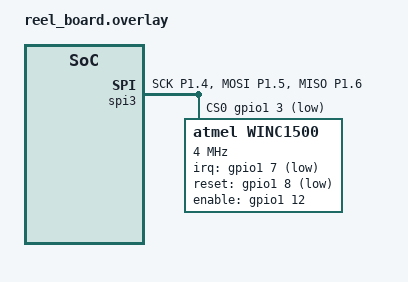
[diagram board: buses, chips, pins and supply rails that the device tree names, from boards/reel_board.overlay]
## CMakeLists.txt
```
# SPDX-License-Identifier: Apache-2.0

cmake_minimum_required(VERSION 3.20.0)

find_package(Zephyr REQUIRED HINTS $ENV{ZEPHYR_BASE})
project(wifi)

FILE(GLOB app_sources src/*.c)
target_sources(app PRIVATE ${app_sources})
```

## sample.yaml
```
common:
  harness: net
  tags:
    - net
    - wifi
sample:
  description: Test wifi driver and APIs functionality
  name: WiFi sample app
tests:
  sample.net.wifi:
    platform_allow:
      - cc3220sf_launchxl
      - disco_l475_iot1
      - reel_board
    integration_platforms:
      - cc3220sf_launchxl
  sample.net.wifi.mikroe_wifi_bt_click:
    extra_args: SHIELD=mikroe_wifi_bt_click_mikrobus
    platform_allow: lpcxpresso55s69/lpc55s69/cpu0
  sample.net.wifi.esp_8266:
    extra_args: SHIELD=esp_8266
    platform_allow: sam4e_xpro
  sample.net.wifi.esp_8266_arduino:
    extra_args: SHIELD=esp_8266_arduino
    platform_allow:
      - frdm_k64f
      - disco_l475_iot1
    integration_platforms:
      - frdm_k64f
  sample.net.wifi.inventek_eswifi_arduino_uart:
    extra_args: SHIELD=inventek_eswifi_arduino_uart
    platform_allow:
      - frdm_k64f
      - nucleo_f767zi
    integration_platforms:
      - frdm_k64f
  sample.net.wifi.inventek_eswifi_arduino_spi:
    extra_args: SHIELD=inventek_eswifi_arduino_spi
    platform_allow:
      - frdm_k64f
      - nucleo_f767zi
    integration_platforms:
      - frdm_k64f
```

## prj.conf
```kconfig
CONFIG_EARLY_CONSOLE=y

CONFIG_NETWORKING=y
CONFIG_TEST_RANDOM_GENERATOR=y

CONFIG_NET_TX_STACK_SIZE=2048
CONFIG_NET_RX_STACK_SIZE=2048

CONFIG_NET_PKT_RX_COUNT=10
CONFIG_NET_PKT_TX_COUNT=10
CONFIG_NET_BUF_RX_COUNT=20
CONFIG_NET_BUF_TX_COUNT=20
CONFIG_NET_MAX_CONTEXTS=10
CONFIG_NET_DHCPV4=y

CONFIG_NET_IPV4=y
CONFIG_NET_IPV6=n

CONFIG_NET_TCP=y

CONFIG_NET_LOG=y
CONFIG_INIT_STACKS=y

CONFIG_NET_SHELL=y

CONFIG_NET_STATISTICS=y
CONFIG_NET_STATISTICS_PERIODIC_OUTPUT=n

CONFIG_WIFI=y
CONFIG_WIFI_LOG_LEVEL_ERR=y
CONFIG_NET_L2_WIFI_SHELL=y
```

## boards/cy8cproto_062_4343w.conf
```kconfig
CONFIG_NET_IF_MAX_IPV4_COUNT=2
CONFIG_NET_MGMT_EVENT_QUEUE_TIMEOUT=20
CONFIG_SYSTEM_WORKQUEUE_STACK_SIZE=2048
```

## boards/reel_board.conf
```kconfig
CONFIG_GPIO=y

CONFIG_WIFI_WINC1500_REGION_EUROPE=y
```

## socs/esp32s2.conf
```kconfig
CONFIG_WIFI=y
CONFIG_HEAP_MEM_POOL_SIZE=34816

# decrease packet count and size to save RAM
CONFIG_NET_PKT_RX_COUNT=7
CONFIG_NET_PKT_TX_COUNT=7
CONFIG_NET_BUF_RX_COUNT=7
CONFIG_NET_BUF_TX_COUNT=7

CONFIG_ESP32_WIFI_IRAM_OPT=n
CONFIG_ESP32_WIFI_RX_IRAM_OPT=n

CONFIG_NETWORKING=y
CONFIG_NET_L2_ETHERNET=y

CONFIG_NET_IPV6=n
CONFIG_NET_IPV4=y
CONFIG_NET_DHCPV4=y
CONFIG_ESP32_WIFI_STA_AUTO_DHCPV4=y

CONFIG_LOG_MODE_MINIMAL=y
CONFIG_NET_LOG=y
```

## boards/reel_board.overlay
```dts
/*
 * Copyright (c) 2020 Phytec Messtechnik GmbH
 *
 * SPDX-License-Identifier: Apache-2.0
 */

&pinctrl {
	spi3_default_alt: spi3_default_alt {
		group1 {
			psels = <NRF_PSEL(SPIM_SCK, 1, 4)>,
				<NRF_PSEL(SPIM_MOSI, 1, 5)>,
				<NRF_PSEL(SPIM_MISO, 1, 6)>;
		};
	};

	spi3_sleep_alt: spi3_sleep_alt {
		group1 {
			psels = <NRF_PSEL(SPIM_SCK, 1, 4)>,
				<NRF_PSEL(SPIM_MOSI, 1, 5)>,
				<NRF_PSEL(SPIM_MISO, 1, 6)>;
			low-power-enable;
		};
	};
};

&spi3 {
	status = "ok";
	cs-gpios = <&gpio1 3 GPIO_ACTIVE_LOW>;
	pinctrl-0 = <&spi3_default_alt>;
	pinctrl-1 = <&spi3_sleep_alt>;
	pinctrl-names = "default", "sleep";

	winc1500@0 {
		status = "ok";
		compatible = "atmel,winc1500";
		reg = <0x0>;
		spi-max-frequency = <4000000>;
		irq-gpios = <&gpio1 7 1>;
		reset-gpios = <&gpio1 8 1>;
		enable-gpios = <&gpio1 12 0>;

	};
};
```

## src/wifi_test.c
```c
/*
 * Copyright (c) 2016 Intel Corporation.
 *
 * SPDX-License-Identifier: Apache-2.0
 */

#include <zephyr/kernel.h>
#include <errno.h>

int main(void)
{

	return 0;
}
```
